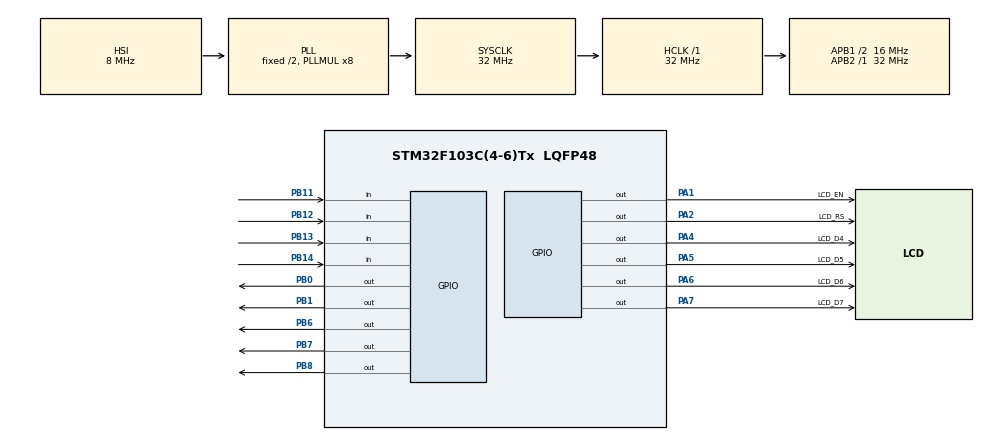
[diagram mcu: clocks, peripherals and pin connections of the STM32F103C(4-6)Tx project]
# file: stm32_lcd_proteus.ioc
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Mcu.Family=STM32F1
Mcu.Name=STM32F103C(4-6)Tx
Mcu.Package=LQFP48
NVIC.PriorityGroup=NVIC_PRIORITYGROUP_4
PA1.GPIO_Label=LCD_EN
PA1.Signal=GPIO_Output
PA13.Mode=Serial_Wire
PA13.Signal=SYS_JTMS-SWDIO
PA14.Mode=Serial_Wire
PA14.Signal=SYS_JTCK-SWCLK
PA2.GPIO_Label=LCD_RS
PA2.Signal=GPIO_Output
PA4.GPIO_Label=LCD_D4
PA4.Signal=GPIO_Output
PA5.GPIO_Label=LCD_D5
PA5.Signal=GPIO_Output
PA6.GPIO_Label=LCD_D6
PA6.Signal=GPIO_Output
PA7.GPIO_Label=LCD_D7
PA7.Signal=GPIO_Output
PB0.Signal=GPIO_Output
PB1.Signal=GPIO_Output
PB11.Signal=GPIO_Input
PB12.Signal=GPIO_Input
PB13.Signal=GPIO_Input
PB14.Signal=GPIO_Input
PB6.Signal=GPIO_Output
PB7.Signal=GPIO_Output
PB8.Signal=GPIO_Output
PD0-OSC_IN.Mode=HSE-External-Oscillator
PD0-OSC_IN.Signal=RCC_OSC_IN
PD1-OSC_OUT.Mode=HSE-External-Oscillator
PD1-OSC_OUT.Signal=RCC_OSC_OUT
ProjectManager.HeapSize=0x200
ProjectManager.StackSize=0x400
ProjectManager.TargetToolchain=STM32CubeIDE
RCC.AHBFreq_Value=32000000
RCC.APB1CLKDivider=RCC_HCLK_DIV2
RCC.APB1Freq_Value=16000000
RCC.APB1TimFreq_Value=32000000
RCC.APB2Freq_Value=32000000
RCC.APB2TimFreq_Value=32000000
RCC.HCLKFreq_Value=32000000
RCC.PLLMUL=RCC_PLL_MUL8
RCC.SYSCLKFreq_VALUE=32000000
RCC.SYSCLKSource=RCC_SYSCLKSOURCE_PLLCLK
RCC.USBFreq_Value=32000000
board=custom

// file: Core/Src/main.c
/* USER CODE BEGIN Header */
/**
  ******************************************************************************
  * @file           : main.c
  * @brief          : Main program body
  ******************************************************************************
  * @attention
  *
  * Copyright (c) 2024 STMicroelectronics.
  * All rights reserved.
  *
  * This software is licensed under terms that can be found in the LICENSE file
  * in the root directory of this software component.
  * If no LICENSE file comes with this software, it is provided AS-IS.
  *
  ******************************************************************************
  */
/* USER CODE END Header */
#include "main.h"

/* USER CODE BEGIN Includes */

#include "LCD.h"
#include "string.h"
#include "stdio.h"
#include "stdint.h"
#include "stdbool.h"

void motor_forward(void);
void motor_backward(void);
void motor_stop(void);

/* USER CODE END Includes */

void SystemClock_Config(void);
static void MX_GPIO_Init(void);

/* USER CODE BEGIN 0 */

void motor_forward(void)
{
	HAL_GPIO_WritePin(GPIOB,GPIO_PIN_0,GPIO_PIN_SET);
	HAL_GPIO_WritePin(GPIOB,GPIO_PIN_1,GPIO_PIN_RESET);
}

void motor_backward(void)
{
	HAL_GPIO_WritePin(GPIOB,GPIO_PIN_0,GPIO_PIN_RESET);
	HAL_GPIO_WritePin(GPIOB,GPIO_PIN_1,GPIO_PIN_SET);
}

void motor_stop(void)
{
	HAL_GPIO_WritePin(GPIOB,GPIO_PIN_0,GPIO_PIN_RESET);
	HAL_GPIO_WritePin(GPIOB,GPIO_PIN_1,GPIO_PIN_RESET);
}

/* USER CODE END 0 */

int main(void)
{

  /* MCU Configuration--------------------------------------------------------*/

  /* Reset of all peripherals, Initializes the Flash interface and the Systick. */
  HAL_Init();

  /* Configure the system clock */
  SystemClock_Config();

  /* Initialize all configured peripherals */
  MX_GPIO_Init();
  /* USER CODE BEGIN 2 */

  lcd_init(_LCD_4BIT, _LCD_FONT_5x8, _LCD_2LINE);
  lcd_cmd(_LCD_INIT);
  lcd_print(1, 1, "Enter Password.");

  int i = 1;

  char entered_password[5];
  char real_password[5] = "12345";

  // char yazi[32] = " ";
  HAL_Delay(10);
  // lcd_clear();

  // int i = 0;
  // char tuslar[4][3] = {
  //	  {'1','2','3'},
  //		  {'4','5','6'},
  //		  {'7','8','9'},
  //		  {'*','0','#'}
  //};

  // char sifre[5];

//  HAL_GPIO_WritePin(GPIOB,GPIO_PIN_0,GPIO_PIN_SET);
//  HAL_GPIO_WritePin(GPIOB,GPIO_PIN_1,GPIO_PIN_RESET);
//  HAL_Delay(5000);
//
//  HAL_GPIO_WritePin(GPIOB,GPIO_PIN_0,GPIO_PIN_RESET);
//  HAL_GPIO_WritePin(GPIOB,GPIO_PIN_1,GPIO_PIN_SET);
//  HAL_Delay(5000);

  HAL_GPIO_WritePin(GPIOB,GPIO_PIN_0,GPIO_PIN_RESET);
  HAL_GPIO_WritePin(GPIOB,GPIO_PIN_1,GPIO_PIN_RESET);

  HAL_GPIO_WritePin(GPIOB,GPIO_PIN_6,GPIO_PIN_RESET);
  HAL_GPIO_WritePin(GPIOB,GPIO_PIN_7,GPIO_PIN_RESET);
  HAL_GPIO_WritePin(GPIOB,GPIO_PIN_8,GPIO_PIN_RESET);

  /* USER CODE END 2 */

  /* Infinite loop */
  while (1)
  {

    /* USER CODE BEGIN 3 */

	HAL_GPIO_WritePin(GPIOB,GPIO_PIN_6,GPIO_PIN_SET);
	HAL_GPIO_WritePin(GPIOB,GPIO_PIN_7,GPIO_PIN_RESET);
	HAL_GPIO_WritePin(GPIOB,GPIO_PIN_8,GPIO_PIN_RESET);

	if(HAL_GPIO_ReadPin(GPIOB,GPIO_PIN_14))
	{
		while(HAL_GPIO_ReadPin(GPIOB,GPIO_PIN_14));
		lcd_print(2,i,"1");
		entered_password[i - 1] = '1';
		i++;

	}
	else if(HAL_GPIO_ReadPin(GPIOB,GPIO_PIN_13))
	{
		while(HAL_GPIO_ReadPin(GPIOB,GPIO_PIN_13));
		lcd_print(2,i,"4");
		entered_password[i - 1] = '4';
		i++;
	}
	else if(HAL_GPIO_ReadPin(GPIOB,GPIO_PIN_12))
	{
		while(HAL_GPIO_ReadPin(GPIOB,GPIO_PIN_12));
		lcd_print(2,i,"7");
		entered_password[i - 1] = '7';
		i++;
	}
	else if(HAL_GPIO_ReadPin(GPIOB,GPIO_PIN_11))
	{
		while(HAL_GPIO_ReadPin(GPIOB,GPIO_PIN_11));
		lcd_print(2,i,"*");
		entered_password[i - 1] = '*';
		i++;
	}

	HAL_GPIO_WritePin(GPIOB,GPIO_PIN_6,GPIO_PIN_RESET);
	HAL_GPIO_WritePin(GPIOB,GPIO_PIN_7,GPIO_PIN_SET);
	HAL_GPIO_WritePin(GPIOB,GPIO_PIN_8,GPIO_PIN_RESET);

	if(HAL_GPIO_ReadPin(GPIOB,GPIO_PIN_14))
	{
		while(HAL_GPIO_ReadPin(GPIOB,GPIO_PIN_14));
		lcd_print(2,i,"2");
		entered_password[i - 1] = '2';
		i++;
	}
	else if(HAL_GPIO_ReadPin(GPIOB,GPIO_PIN_13))
	{
		while(HAL_GPIO_ReadPin(GPIOB,GPIO_PIN_13));
		lcd_print(2,i,"5");
		entered_password[i - 1] = '5';
		i++;
	}
	else if(HAL_GPIO_ReadPin(GPIOB,GPIO_PIN_12))
	{
		while(HAL_GPIO_ReadPin(GPIOB,GPIO_PIN_12));
		lcd_print(2,i,"8");
		entered_password[i - 1] = '8';
		i++;

	}
	else if(HAL_GPIO_ReadPin(GPIOB,GPIO_PIN_11))
	{
		while(HAL_GPIO_ReadPin(GPIOB,GPIO_PIN_11));
		lcd_print(2,i,"0");
		entered_password[i - 1] = '0';
		i++;
	}

	HAL_GPIO_WritePin(GPIOB,GPIO_PIN_6,GPIO_PIN_RESET);
	HAL_GPIO_WritePin(GPIOB,GPIO_PIN_7,GPIO_PIN_RESET);
	HAL_GPIO_WritePin(GPIOB,GPIO_PIN_8,GPIO_PIN_SET);

	if(HAL_GPIO_ReadPin(GPIOB,GPIO_PIN_14))
	{
		while(HAL_GPIO_ReadPin(GPIOB,GPIO_PIN_14));
		lcd_print(2,i,"3");
		entered_password[i - 1] = '3';
		i++;
	}
	else if(HAL_GPIO_ReadPin(GPIOB,GPIO_PIN_13))
	{
		while(HAL_GPIO_ReadPin(GPIOB,GPIO_PIN_13));
		lcd_print(2,i,"6");
		entered_password[i - 1] = '6';
		i++;
	}
	else if(HAL_GPIO_ReadPin(GPIOB,GPIO_PIN_12))
	{
		while(HAL_GPIO_ReadPin(GPIOB,GPIO_PIN_12));
		lcd_print(2,i,"9");
		entered_password[i - 1] = '9';
		i++;
	}
	else if(HAL_GPIO_ReadPin(GPIOB,GPIO_PIN_11))
	{
		while(HAL_GPIO_ReadPin(GPIOB,GPIO_PIN_11));
		lcd_print(2,i,"#");
		entered_password[i - 1] = '#';
		i++;
	}

	if (i == 6)
	{
		for(int j = 0;j < 5;j++)
		{
			if(entered_password[j] != real_password[j])
			{
				lcd_clear();
				lcd_print(1, 1, "Wrong Password!");
				lcd_print(2, 1, "Try again.");
				HAL_Delay(3000);

				lcd_clear();
				lcd_print(1,1,"Enter Password.");

				i = 1;
				break;
			}

			if(j == 4)
			{
				lcd_clear();
				lcd_print(1,1,"Correct Password!");
				HAL_Delay(1000);
				lcd_print(2,1,"Enter Please!");
				motor_forward();
				HAL_Delay(3000);

				motor_stop();
				HAL_Delay(1000);

				motor_backward();
				HAL_Delay(3000);
				motor_stop();

				for(int a = 0;a < 5;a++)
				{
					entered_password[a] = 0;
				}

				lcd_clear();
				lcd_print(1,1,"Enter Password.");

				i = 1;
			}
		}
	}
  }
  /* USER CODE END 3 */
}

/*

for(int i = 0;i < 5;i++)
{
	hangi tuşa denk geliyorsa yazdır. o ilgili değeri bir diziye ata.
	ondan sonra bir sonraki sütuna yazdır. yine diziye ata.

	en sonda dizinin elemanları sırasıyla "12345" sifresine esitse,
	sifre dogrudur dolayısıyla kapıyı açabilirsin.
}

 */

void SystemClock_Config(void)
{
  RCC_OscInitTypeDef RCC_OscInitStruct = {0};
  RCC_ClkInitTypeDef RCC_ClkInitStruct = {0};

  /** Initializes the RCC Oscillators according to the specified parameters
  * in the RCC_OscInitTypeDef structure.
  */
  RCC_OscInitStruct.OscillatorType = RCC_OSCILLATORTYPE_HSI;
  RCC_OscInitStruct.HSIState = RCC_HSI_ON;
  RCC_OscInitStruct.HSICalibrationValue = RCC_HSICALIBRATION_DEFAULT;
  RCC_OscInitStruct.PLL.PLLState = RCC_PLL_ON;
  RCC_OscInitStruct.PLL.PLLSource = RCC_PLLSOURCE_HSI_DIV2;
  RCC_OscInitStruct.PLL.PLLMUL = RCC_PLL_MUL8;
  if (HAL_RCC_OscConfig(&RCC_OscInitStruct) != HAL_OK)
  {
    Error_Handler();
  }

  /** Initializes the CPU, AHB and APB buses clocks
  */
  RCC_ClkInitStruct.ClockType = RCC_CLOCKTYPE_HCLK|RCC_CLOCKTYPE_SYSCLK
                              |RCC_CLOCKTYPE_PCLK1|RCC_CLOCKTYPE_PCLK2;
  RCC_ClkInitStruct.SYSCLKSource = RCC_SYSCLKSOURCE_PLLCLK;
  RCC_ClkInitStruct.AHBCLKDivider = RCC_SYSCLK_DIV1;
  RCC_ClkInitStruct.APB1CLKDivider = RCC_HCLK_DIV2;
  RCC_ClkInitStruct.APB2CLKDivider = RCC_HCLK_DIV1;

  if (HAL_RCC_ClockConfig(&RCC_ClkInitStruct, FLASH_LATENCY_1) != HAL_OK)
  {
    Error_Handler();
  }
}

static void MX_GPIO_Init(void)
{
  GPIO_InitTypeDef GPIO_InitStruct = {0};

  /* GPIO Ports Clock Enable */
  __HAL_RCC_GPIOD_CLK_ENABLE();
  __HAL_RCC_GPIOA_CLK_ENABLE();
  __HAL_RCC_GPIOB_CLK_ENABLE();

  /*Configure GPIO pin Output Level */
  HAL_GPIO_WritePin(GPIOA, LCD_EN_Pin|LCD_RS_Pin|LCD_D4_Pin|LCD_D5_Pin
                          |LCD_D6_Pin|LCD_D7_Pin, GPIO_PIN_RESET);

  /*Configure GPIO pin Output Level */
  HAL_GPIO_WritePin(GPIOB, GPIO_PIN_0|GPIO_PIN_1|GPIO_PIN_6|GPIO_PIN_7
                          |GPIO_PIN_8, GPIO_PIN_RESET);

  /*Configure GPIO pins : LCD_EN_Pin LCD_RS_Pin LCD_D4_Pin LCD_D5_Pin
                           LCD_D6_Pin LCD_D7_Pin */
  GPIO_InitStruct.Pin = LCD_EN_Pin|LCD_RS_Pin|LCD_D4_Pin|LCD_D5_Pin
                          |LCD_D6_Pin|LCD_D7_Pin;
  GPIO_InitStruct.Mode = GPIO_MODE_OUTPUT_PP;
  GPIO_InitStruct.Pull = GPIO_NOPULL;
  GPIO_InitStruct.Speed = GPIO_SPEED_FREQ_LOW;
  HAL_GPIO_Init(GPIOA, &GPIO_InitStruct);

  /*Configure GPIO pins : PB0 PB1 PB6 PB7
                           PB8 */
  GPIO_InitStruct.Pin = GPIO_PIN_0|GPIO_PIN_1|GPIO_PIN_6|GPIO_PIN_7
                          |GPIO_PIN_8;
  GPIO_InitStruct.Mode = GPIO_MODE_OUTPUT_PP;
  GPIO_InitStruct.Pull = GPIO_NOPULL;
  GPIO_InitStruct.Speed = GPIO_SPEED_FREQ_LOW;
  HAL_GPIO_Init(GPIOB, &GPIO_InitStruct);

  /*Configure GPIO pins : PB11 PB12 PB13 PB14 */
  GPIO_InitStruct.Pin = GPIO_PIN_11|GPIO_PIN_12|GPIO_PIN_13|GPIO_PIN_14;
  GPIO_InitStruct.Mode = GPIO_MODE_INPUT;
  GPIO_InitStruct.Pull = GPIO_NOPULL;
  HAL_GPIO_Init(GPIOB, &GPIO_InitStruct);

}

void Error_Handler(void)
{
  __disable_irq();
  while (1)
  {
  }
}
